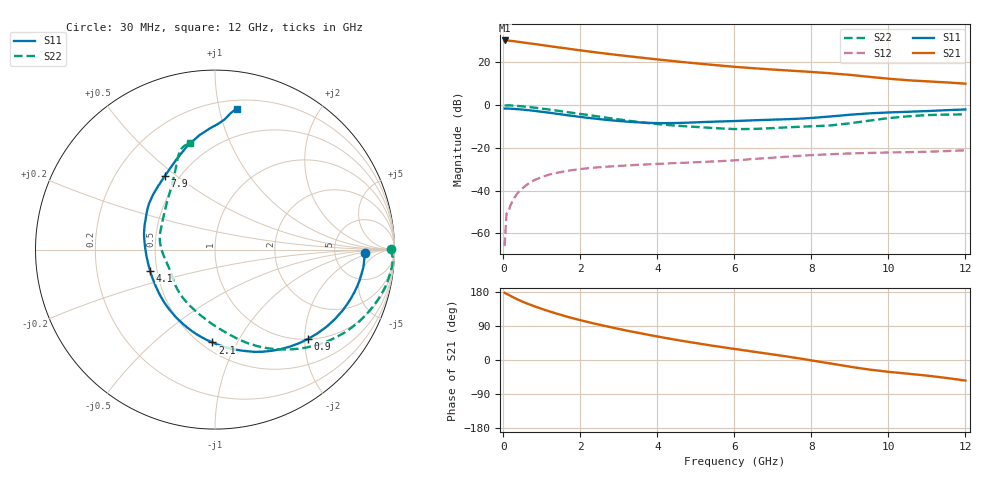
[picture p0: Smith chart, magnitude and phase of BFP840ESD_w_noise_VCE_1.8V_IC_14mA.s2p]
! Infineon Technologies  Discrete & RF Semiconductors
! BFP840ESD
! VCE =  1.8 V,  IC =  14 mA
! Common Emitter S-Parameters:  May 2012
# GHz  S  MA  R  50
!  f  S11  S21  S12  S22
! GHz  MAG  ANG  MAG  ANG  MAG  ANG  MAG  ANG
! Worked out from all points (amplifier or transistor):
!   93 points, 30 MHz to 12 GHz, reference 50 ohm
!   highest |S21| = 30.3 dB at 30 MHz (marker M1)
!   |S21| within 3 dB of that: start of sweep to 1.331 GHz
!   unconditionally stable (mu >= 1): 5.251 GHz to 8.76 GHz
!   at 1.1 GHz: K = 0.33, MSG = 30.5 dB, |S12| = -33.0 dB
!   at 4.2 GHz: K = 0.89, MSG = 24.2 dB, |S12| = -27.4 dB
!   at 12 GHz: K = 0.73, MSG = 15.6 dB, |S12| = -21.1 dB
!   lowest NFmin = 0.96 dB at 450 MHz
!   S11 on the Smith chart (normalised r, x): 30 MHz: 11, -1; 900 MHz: 1.01, -2.08; 2.1 GHz: 0.57, -0.80; 4.1 GHz: 0.46, -0.13; 7.9 GHz: 0.42, +0.45; 12 GHz: 0.26, +1.13
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0.03  0.8342 -1.4  32.8 177.3  0.0005 73.8  0.9788 0.1
0.08  0.8332 -4.2  32.76 174.7  0.0029 82.0  0.9914 -2.6
0.18  0.8279 -9.4  32.09 169.4  0.0045 81.5  0.9869 -7.1
0.28  0.8181 -14.6  31.39 164.1  0.0067 77.1  0.9749 -11.3
0.43  0.7981 -22.0  30.1 156.9  0.0099 74.1  0.9502 -17.0
0.6  0.7719 -30.2  28.65 149.6  0.0136 71.3  0.9177 -23.1
0.9  0.7187 -43.8  26.36 138.3  0.0191 63.2  0.8546 -33.0
1.1  0.6821 -52.5  24.85 131.4  0.0223 58.6  0.8102 -39.0
1.4  0.6282 -64.9  22.77 121.9  0.0262 52.8  0.7439 -47.3
1.7  0.576 -76.7  20.94 113.0  0.0294 48.0  0.6805 -54.8
2.1  0.5172 -91.6  18.72 102.5  0.0327 42.7  0.606 -64.0
2.5  0.4716 -105.9  16.83 93.0  0.0353 38.3  0.5386 -72.4
3  0.4268 -123.5  14.86 81.9  0.038 34.7  0.4651 -82.7
3.5  0.3971 -141.1  13.23 71.7  0.0401 32.0  0.4063 -94.1
4.1  0.38 -162.0  11.54 60.2  0.0426 29.0  0.3549 -109.0
4.9  0.3932 175.2  9.751 46.3  0.0458 26.4  0.3139 -128.5
6.1  0.4286 153.1  7.806 27.8  0.0518 24.6  0.2764 -155.5
7.9  0.4965 124.4  6.09 0.7  0.0669 16.0  0.3177 165.5
8.5  0.5451 113.4  5.586 -9.3  0.0712 11.6  0.3362 149.7
9.5  0.6437 97.7  4.622 -25.2  0.0762 3.7  0.4346 123.3
10.5  0.7012 88.5  3.841 -36.1  0.0794 -2.7  0.5483 112.3
12  0.7946 81.3  3.193 -54.2  0.0879 -9.8  0.6109 103.2
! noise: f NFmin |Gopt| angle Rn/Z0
0.45  0.96  0.19  1  0.13
0.9  0.97  0.19  4  0.13
1.5  0.97  0.2  8  0.12
1.9  0.98  0.17  12  0.12
2.4  0.99  0.14  19  0.12
3.5  1  0.05  63  0.1
5.5  1.03  0.07  -165  0.1
8  1.14  0.29  -116  0.12
10  1.26  0.49  -83  0.22
12  1.48  0.62  -68  0.31
